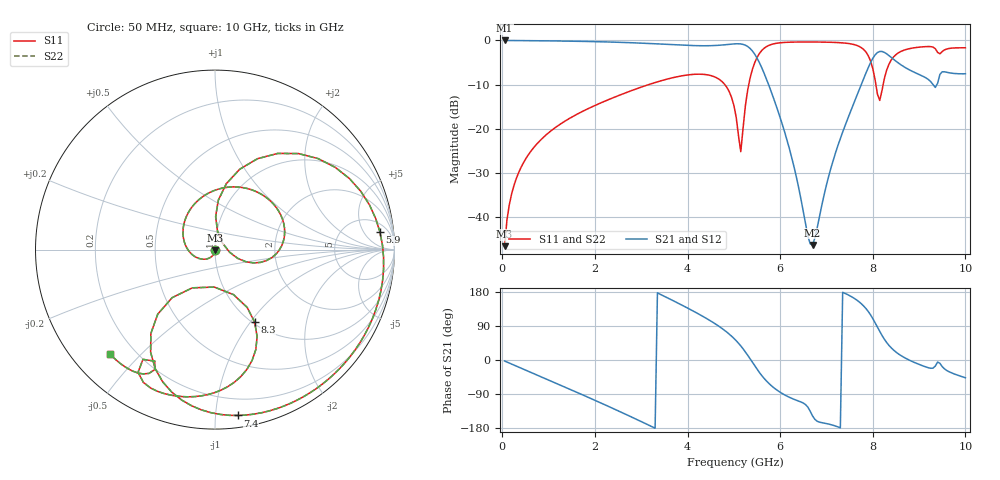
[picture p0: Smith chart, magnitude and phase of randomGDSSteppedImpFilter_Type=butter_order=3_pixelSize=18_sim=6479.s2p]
! freq	dB(S11)	phase(S11)	dB(S12)	phase(S12)
!  dB(S21)	phase(S21)	dB(S22)	phase(S22)
!S-par simulation data
#  GHz  S  DB  R 50
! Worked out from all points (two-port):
!   200 points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, 50 MHz to 10 GHz, reference 50 ohm
!   highest |S21| = -0.01 dB at 50 MHz (marker M1); lowest = -46.3 dB at 6.7 GHz (marker M2)
!   |S21| within 3 dB of the highest: start of sweep to 5.443 GHz; 8.076 GHz to 8.295 GHz (219.6 MHz wide, 2.68 % of centre)
!   lowest |S11| = -46.6 dB at 50 MHz (marker M3), VSWR 1.01, Z = 50 - j0.466 ohm
!   |S11| at or under -10 dB: start of sweep to 3.164 GHz; 4.805 GHz to 5.323 GHz (518.2 MHz wide, 10.2 % of centre); 8.067 GHz to 8.225 GHz (157.8 MHz wide, 1.94 % of centre)
!   |S22| runs from -46.6 to -0.4 dB; largest |S21 - S12| = 0
!   S11 on the Smith chart (normalised r, x): 50 MHz: 1.00, -0.01; 5.9 GHz: 9, +12; 7.4 GHz: 0.08, -1.14; 8.3 GHz: 1.02, -1.05; 10 GHz: 0.11, -0.41
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0.05  -46.64 -90.5  -0.01 -2.7  -0.01 -2.7  -46.64 -90.5
0.2  -34.86 -99.7  -0.02 -10.6  -0.02 -10.6  -34.86 -99.7
0.5  -26.95 -116.8  -0.05 -26.4  -0.05 -26.4  -26.95 -116.8
1.75  -15.99 175.9  -0.22 -92.8  -0.22 -92.8  -15.99 175.9
2.65  -11.93 126.2  -0.47 -142.4  -0.47 -142.4  -11.93 126.2
3.4  -9.23 83.0  -0.81 174.1  -0.81 174.1  -9.23 83.0
4.4  -7.75 20.7  -1.21 110.3  -1.21 110.3  -7.75 20.8
4.85  -10.66 -12.1  -0.94 73.4  -0.94 73.4  -10.66 -12.0
5.05  -17.36 -21.2  -0.76 51.0  -0.76 51.0  -17.34 -20.9
5.15  -25.22 38.8  -0.80 37.1  -0.80 37.1  -25.10 38.8
5.3  -11.19 86.2  -1.38 12.4  -1.38 12.4  -11.18 86.1
5.5  -3.88 56.9  -3.99 -24.1  -3.99 -24.1  -3.88 56.8
5.9  -0.68 6.0  -14.37 -76.7  -14.37 -76.7  -0.68 6.0
6.7  -0.36 -46.2  -46.34 -147.7  -46.34 -147.7  -0.36 -46.2
7.4  -0.60 -82.1  -19.36 175.9  -19.36 175.9  -0.60 -82.2
7.95  -4.60 -127.4  -5.08 119.5  -5.08 119.5  -4.60 -127.4
8.15  -13.60 -90.9  -2.50 75.6  -2.50 75.6  -13.61 -90.9
8.3  -6.72 -61.3  -3.04 46.2  -3.04 46.2  -6.72 -61.3
8.35  -5.37 -64.2  -3.44 38.5  -3.44 38.5  -5.37 -64.2
8.9  -1.66 -97.7  -7.24 -6.6  -7.24 -6.6  -1.66 -97.7
9.35  -1.86 -122.1  -10.66 -16.0  -10.66 -16.0  -1.86 -122.1
10  -1.67 -135.2  -7.56 -46.9  -7.56 -46.9  -1.67 -135.2
